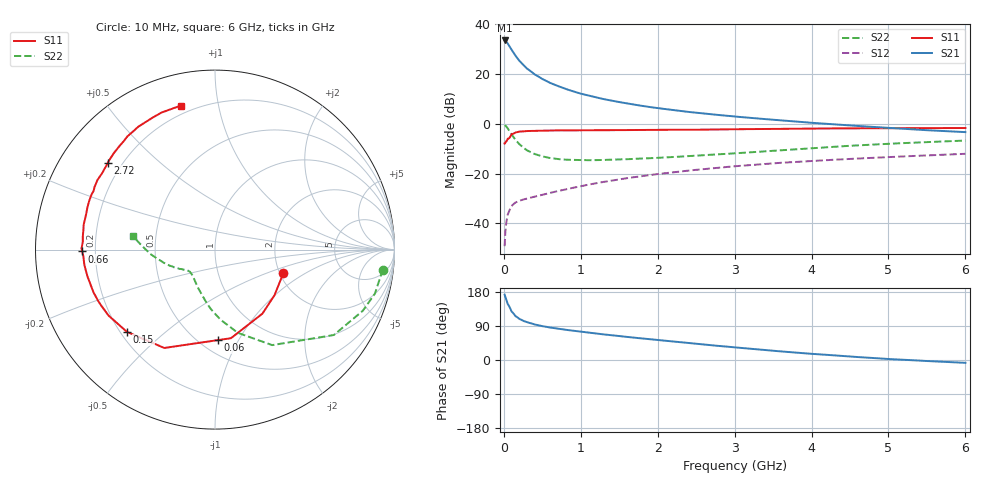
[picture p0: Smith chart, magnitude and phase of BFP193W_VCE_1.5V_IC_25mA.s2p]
! Infineon Technologies  Discrete & RF Semiconductors
! BFP193W
! VCE = 1.5 V,  IC =  25 mA
! Common Emitter S-Parameters:  Jan 2016
# GHz  S  MA  R  50
!  f  S11  S21  S12  S22
! GHz  MAG  ANG  MAG  ANG  MAG  ANG  MAG  ANG
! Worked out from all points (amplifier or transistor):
!   210 points, 10 MHz to 6 GHz, reference 50 ohm
!   highest |S21| = 33.5 dB at 10 MHz (marker M1)
!   |S21| within 3 dB of that: start of sweep to 85.46 MHz
!   unconditionally stable (mu >= 1): 785.5 MHz to 4.411 GHz
!   at 185 MHz: K = 0.40, MSG = 28.6 dB, |S12| = -31.1 dB
!   at 1.52 GHz: K = 1.14, MAG = 13.2 dB, |S12| = -22.2 dB
!   at 6 GHz: K = 0.96, MSG = 4.4 dB, |S12| = -12.0 dB
!   S11 on the Smith chart (normalised r, x): 10 MHz: 2.09, -0.66; 60 MHz: 0.61, -0.82; 150 MHz: 0.23, -0.38; 660 MHz: 0.15, -0.01; 2.72 GHz: 0.15, +0.35; 6 GHz: 0.16, +0.78
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0.01  0.4028 -19.1  47.2 172.3  0.0035 86.1  0.9415 -6.8
0.02  0.4178 -37.6  46.48 166.3  0.0068 78.4  0.924 -15.4
0.03  0.444 -53.5  45.17 159.9  0.0098 72.4  0.8912 -22.5
0.05  0.5016 -79.8  41.16 148.2  0.015 63.4  0.8154 -35.7
0.06  0.5047 -88.4  38.79 145.1  0.0164 59.4  0.7677 -39.4
0.1  0.6167 -117.3  30.9 128.2  0.0224 48.8  0.6202 -59.1
0.15  0.6711 -136.9  23.45 116.0  0.0263 42.0  0.4806 -74.7
0.2  0.6976 -148.1  18.54 108.6  0.0284 39.5  0.3929 -85.3
0.26  0.7114 -156.5  14.81 102.7  0.0305 39.0  0.3278 -94.6
0.3  0.7177 -160.7  12.9 99.6  0.0316 39.0  0.2948 -99.9
0.4  0.726 -168.1  9.845 93.7  0.0345 41.3  0.2481 -109.8
0.5  0.7328 -173.2  7.954 89.3  0.0376 44.0  0.2223 -117.3
0.66  0.7399 -179.2  6.113 84.0  0.0432 47.7  0.2002 -125.5
0.8  0.7378 176.7  5.029 79.8  0.0482 50.5  0.1908 -130.5
1.02  0.7417 171.4  3.967 74.3  0.0567 53.4  0.1872 -136.4
1.4  0.7458 163.4  2.921 65.3  0.0726 55.6  0.1909 -142.0
2.02  0.757 152.2  2.051 52.2  0.099 55.5  0.2087 -147.6
2.72  0.7688 140.9  1.544 38.5  0.1289 52.6  0.2406 -155.0
3.1  0.7808 134.9  1.361 31.6  0.1445 50.2  0.2616 -159.5
4.1  0.8075 120.8  1.024 15.0  0.1834 43.4  0.3306 -171.9
5.1  0.8195 110.5  0.811 1.6  0.2184 36.8  0.4043 177.3
6  0.8245 103.2  0.682 -7.5  0.2502 31.4  0.4615 170.5
